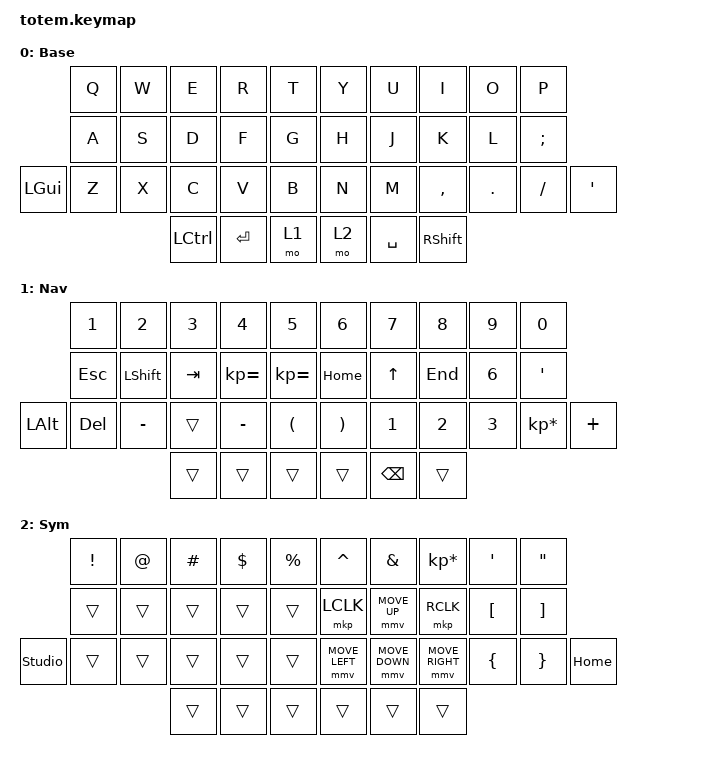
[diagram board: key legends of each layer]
//
//                                                        ▀▀▀▀▀     ▀▀▀▀▀          ▀▀█▀▀
//                                                        ▄▀▀▀▄  ▄  ▄▀▀▀▄  ▄  ▄▀▀▀▄  █  ▄▀▀▀▄
//                                                        █   █  █  █   █  █  █   █  █  █   █
//                                                         ▀▀▀   █   ▀▀▀   █   ▀▀▀   ▀   ▀▀▀
//                                                               █      ▄▄▄█▄▄▄    █   █  
//                                                               ▀      █  █  █     █▄█
//                                                             ▀▀▀▀▀    █  █  █      ▀
//                                                                      ▀  ▀  ▀
//
// ▄▄▄▄▄▄▄▄▄▄▄▄▄▄▄▄▄▄▄▄▄▄▄▄▄▄▄▄▄▄▄▄▄▄▄▄▄▄▄▄▄▄▄▄▄▄▄▄▄▄▄▄▄▄▄▄▄▄▄▄▄▄▄▄▄▄▄▄▄▄▄▄▄▄▄▄▄▄▄▄▄▄▄▄▄▄▄▄▄▄▄▄▄▄▄▄▄▄▄▄▄▄▄▄▄▄▄▄▄▄▄▄▄▄▄▄▄▄▄▄▄▄▄▄▄▄▄▄▄▄▄▄▄▄▄▄▄▄▄▄▄▄▄▄▄▄▄▄▄

#include <behaviors.dtsi>
#include <dt-bindings/zmk/keys.h>
#include <dt-bindings/zmk/bt.h>
#include <dt-bindings/zmk/outputs.h>
#include <dt-bindings/zmk/ext_power.h>

#define Base        0
#define Nav         1
#define Sym         2


&mt {
    quick-tap-ms = <100>;
    global-quick-tap;
    flavor = "tap-preferred";
    tapping-term-ms = <170>;
};

&lt {
    tapping-term-ms = <240>;
    flavor = "balanced";
    quick-tap-ms = <150>;
};

/ {
    behaviors {
        hm: homerow_mods {
            compatible = "zmk,behavior-hold-tap";
            label = "HOMEROW_MODS";
            #binding-cells = <2>;
            flavor = "tap-preferred";
            tapping-term-ms = <200>;
            quick-tap-ms = <125>;
            global-quick-tap;
            bindings = <&kp>, <&kp>;
        };
    };

    combos { compatible = "zmk,combos"; };

    keymap {
        compatible = "zmk,keymap";

        Base {
            display-name = "Base";
            bindings = <
              &kp Q       &kp W       &kp E          &kp R         &kp T        &kp Y    &kp U        &kp I        &kp O       &kp P
              &kp A       &kp S       &kp D          &kp F         &kp G        &kp H    &kp J        &kp K        &kp L       &kp SEMICOLON
&kp LEFT_GUI  &kp Z       &kp X       &kp C          &kp V         &kp B        &kp N    &kp M        &kp COMMA    &kp DOT     &kp SLASH           &kp APOSTROPHE
                                      &kp LEFT_CONTROL  &kp RETURN     &mo  1   &mo 2  &kp SPACE   &kp RSHIFT
            >;
        };

        Nav {
            display-name = "Nav";
            bindings = <
              &kp NUMBER_1      &kp NUMBER_2    &kp NUMBER_3    &kp NUMBER_4        &kp NUMBER_5    &kp NUMBER_6    &kp NUMBER_7  &kp NUMBER_8  &kp NUMBER_9  &kp NUMBER_0
              &kp ESCAPE        &kp LSHIFT      &kp TAB         &kp KP_EQUAL        &kp KP_EQUAL    &kp HOME        &kp UP      &kp END  &kp NUMBER_6  &kp APOS
&kp LEFT_ALT  &kp DEL           &kp MINUS       &trans          &kp MINUS            &kp LPAR        &kp RPAR        &kp NUMBER_1  &kp NUMBER_2  &kp NUMBER_3  &kp KP_MULTIPLY  &kp PLUS
                                         &trans        &trans     &trans      &trans    &kp BSPC        &trans
            >;
        };

        Sym {
            display-name = "Sym";
            bindings = <
                &kp EXCL  &kp AT  &kp HASH  &kp DOLLAR  &kp PERCENT    &kp CARET  &kp AMPERSAND  &kp KP_ASTERISK  &kp SQT  &kp DQT
                &trans    &trans  &trans    &trans      &trans         &mkp LCLK     &mmv MOVE_UP         &mkp RCLK     &kp LEFT_BRACKET   &kp RIGHT_BRACKET
&studio_unlock  &trans    &trans  &trans    &trans      &trans         &mmv MOVE_LEFT  &mmv MOVE_DOWN      &mmv MOVE_RIGHT          &kp LEFT_BRACE   &kp RIGHT_BRACE  &kp HOME
                                  &trans    &trans      &trans         &trans     &trans         &trans
            >;
        };

   
    };
};
